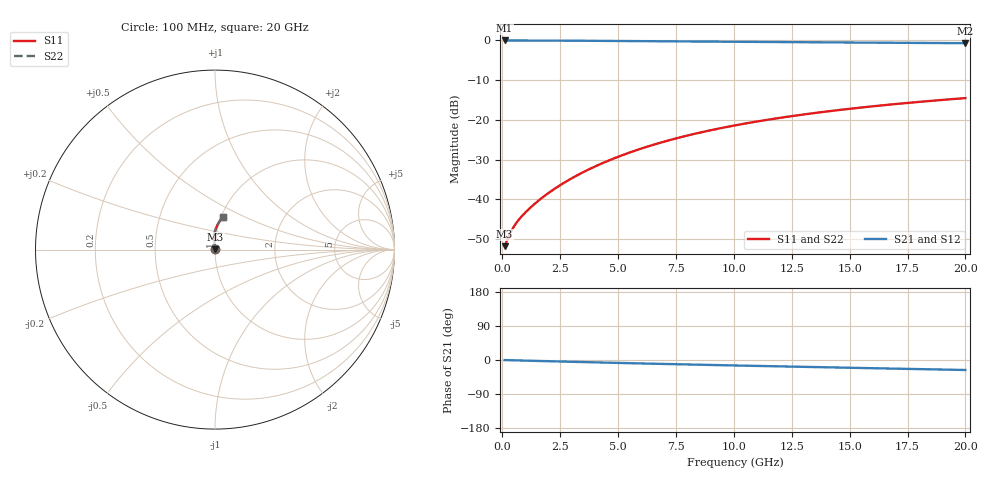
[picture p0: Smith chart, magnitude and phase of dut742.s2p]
! Touchstone file exported from HFSS 2024.1.0
!  File:  C:/UserFiles/LocalFiles/RDL_TSV_Batchsim/temp_RDL_top_742_1779851474.aedt
!  Generated:  11:13:27 AM May 27, 2026
!  Design:  RDL_top
!  Project:  temp_RDL_top_742_1779851474
!  Setup:  Setup1
!  Solution:  Sweep
! Variables:
!  dtsv = 10.80580581um
!  hbump = 3um
!  htsv = 68.96um
!  ldown = 100um
!  lrdl = 411.17um
!  p = 40
!  p1 = 43.53um
!  rhole = 1um
!  t = 450um
!  tdown = 3.915915916um
!  trdl = 2.4um
!  wdown = 15.38538539um
!  wrdl = 29.63um
# GHz S MA R 50.000000
! Terminal data exported
! Port[1] = Box2_T1
! Port[2] = Box2_T2
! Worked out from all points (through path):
!   200 points, 100 MHz to 20 GHz, reference 50 ohm
!   highest |S21| = -0.02 dB at 100 MHz (marker M1); lowest = -0.7 dB at 20 GHz (marker M2)
!   group delay of S21, straight-line fit = 3.6 ps
!   lowest |S11| = -51.8 dB at 100 MHz (marker M3), VSWR 1.01, Z = 50.2 + j0.0809 ohm
!   |S11| at or under -10 dB: start of sweep to end of sweep
!   |S22| runs from -51.8 to -14.5 dB; largest |S21 - S12| = 3.4e-15
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0.1  0.002567 18.3  0.9976 -0.2  0.9976 -0.2  0.002567 18.3
! Gamma 0 0 0 0
! Port Impedance 50 0 50 0
0.3  0.003511 39.7  0.9972 -0.5  0.9972 -0.5  0.003511 39.7
0.4  0.004031 45.3  0.997 -0.7  0.997 -0.7  0.004032 45.3
0.5  0.004529 49.4  0.9968 -0.8  0.9968 -0.8  0.004529 49.4
0.6  0.005004 52.8  0.9966 -1.0  0.9966 -1.0  0.005004 52.8
0.8  0.00592 58.6  0.9962 -1.3  0.9962 -1.3  0.00592 58.6
1.2  0.007781 67.8  0.9955 -2.0  0.9955 -2.0  0.007782 67.8
1.7  0.01034 76.2  0.9945 -2.7  0.9945 -2.7  0.01034 76.2
2.2  0.01319 82.2  0.9933 -3.5  0.9933 -3.5  0.01319 82.2
2.8  0.017 87.3  0.9915 -4.5  0.9915 -4.5  0.017 87.3
3.5  0.02196 91.3  0.989 -5.5  0.989 -5.5  0.02195 91.3
4.2  0.02742 93.8  0.9863 -6.6  0.9863 -6.6  0.02742 93.8
5  0.03423 95.4  0.9828 -7.7  0.9828 -7.7  0.03423 95.4
5.9  0.04249 96.1  0.9788 -9.0  0.9788 -9.0  0.04248 96.1
6.8  0.05124 96.0  0.9746 -10.2  0.9746 -10.2  0.05123 96.0
8.4  0.06762 94.7  0.9672 -12.3  0.9672 -12.3  0.06761 94.7
10.1  0.08563 92.4  0.9596 -14.5  0.9596 -14.5  0.08562 92.3
11.7  0.1028 89.8  0.9528 -16.5  0.9528 -16.5  0.1027 89.8
13.4  0.1208 87.0  0.946 -18.6  0.946 -18.6  0.1208 87.0
15  0.1376 84.3  0.9398 -20.5  0.9398 -20.5  0.1376 84.3
16.7  0.1551 81.5  0.9335 -22.5  0.9335 -22.5  0.1551 81.5
20  0.1877 76.3  0.9218 -26.4  0.9218 -26.4  0.1876 76.3
